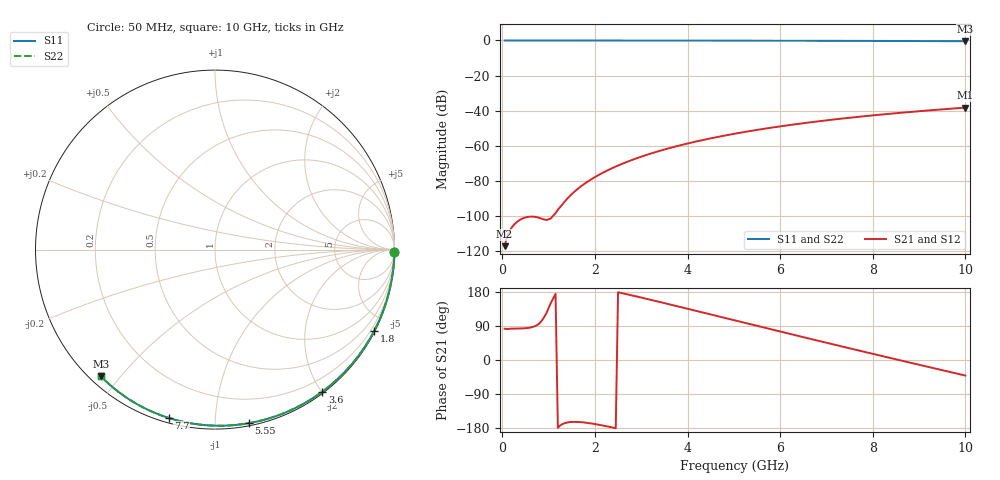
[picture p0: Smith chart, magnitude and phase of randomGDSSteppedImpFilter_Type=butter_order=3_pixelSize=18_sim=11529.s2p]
! freq	dB(S11)	phase(S11)	dB(S12)	phase(S12)
!  dB(S21)	phase(S21)	dB(S22)	phase(S22)
!S-par simulation data
#  GHz  S  DB  R 50
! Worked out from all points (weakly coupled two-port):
!   200 points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, 50 MHz to 10 GHz, reference 50 ohm
!   highest |S21| = -38.34 dB at 10 GHz (marker M1); lowest = -117.4 dB at 50 MHz (marker M2)
!   lowest |S11| = -0.4 dB at 10 GHz (marker M3), VSWR 38.93, Z = 1.54 - j22.3 ohm
!   |S11| at or under -10 dB: nowhere
!   |S22| runs from -0.4 to 0.0 dB; largest |S21 - S12| = 0
!   S11 on the Smith chart (normalised r, x): 50 MHz: open; 1.8 GHz: 0.04, -4.16; 3.6 GHz: 0.02, -2.01; 5.55 GHz: 0.02, -1.21; 7.7 GHz: 0.02, -0.76; 10 GHz: 0.03, -0.45
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0.05  -0.00 -0.8  -117.39 82.6  -117.39 82.6  -0.00 -0.8
0.9  -0.02 -13.6  -102.15 112.4  -102.15 112.4  -0.02 -13.6
1.75  -0.03 -26.3  -82.25 -164.7  -82.25 -164.7  -0.03 -26.3
1.8  -0.03 -27.0  -81.32 -165.4  -81.32 -165.4  -0.03 -27.0
1.85  -0.04 -27.8  -80.43 -166.2  -80.43 -166.2  -0.04 -27.8
1.9  -0.04 -28.5  -79.58 -167.1  -79.58 -167.1  -0.04 -28.5
2.05  -0.04 -30.7  -77.21 -170.1  -77.21 -170.1  -0.04 -30.7
2.25  -0.04 -33.6  -74.41 -174.8  -74.41 -174.8  -0.04 -33.6
2.45  -0.05 -36.5  -71.94 -179.9  -71.94 -179.9  -0.05 -36.5
2.65  -0.05 -39.4  -69.73 174.7  -69.73 174.7  -0.05 -39.4
3  -0.06 -44.4  -66.32 164.8  -66.32 164.8  -0.06 -44.4
3.4  -0.07 -50.1  -62.99 153.1  -62.99 153.1  -0.07 -50.1
3.6  -0.07 -52.9  -61.50 147.2  -61.50 147.2  -0.07 -52.9
4.3  -0.09 -62.5  -56.99 126.2  -56.99 126.2  -0.09 -62.5
5.05  -0.11 -72.5  -53.06 103.7  -53.06 103.7  -0.11 -72.5
5.55  -0.13 -79.0  -50.83 88.6  -50.83 88.6  -0.13 -79.0
6.1  -0.15 -85.9  -48.65 72.2  -48.65 72.2  -0.15 -85.9
6.7  -0.18 -93.4  -46.55 54.3  -46.55 54.3  -0.18 -93.4
7.7  -0.24 -105.4  -43.55 25.0  -43.55 25.0  -0.24 -105.4
8.35  -0.29 -113.0  -41.87 6.1  -41.87 6.1  -0.29 -113.0
9.15  -0.36 -122.3  -40.04 -16.9  -40.04 -16.9  -0.36 -122.3
10  -0.45 -131.9  -38.34 -41.1  -38.34 -41.1  -0.45 -131.9
